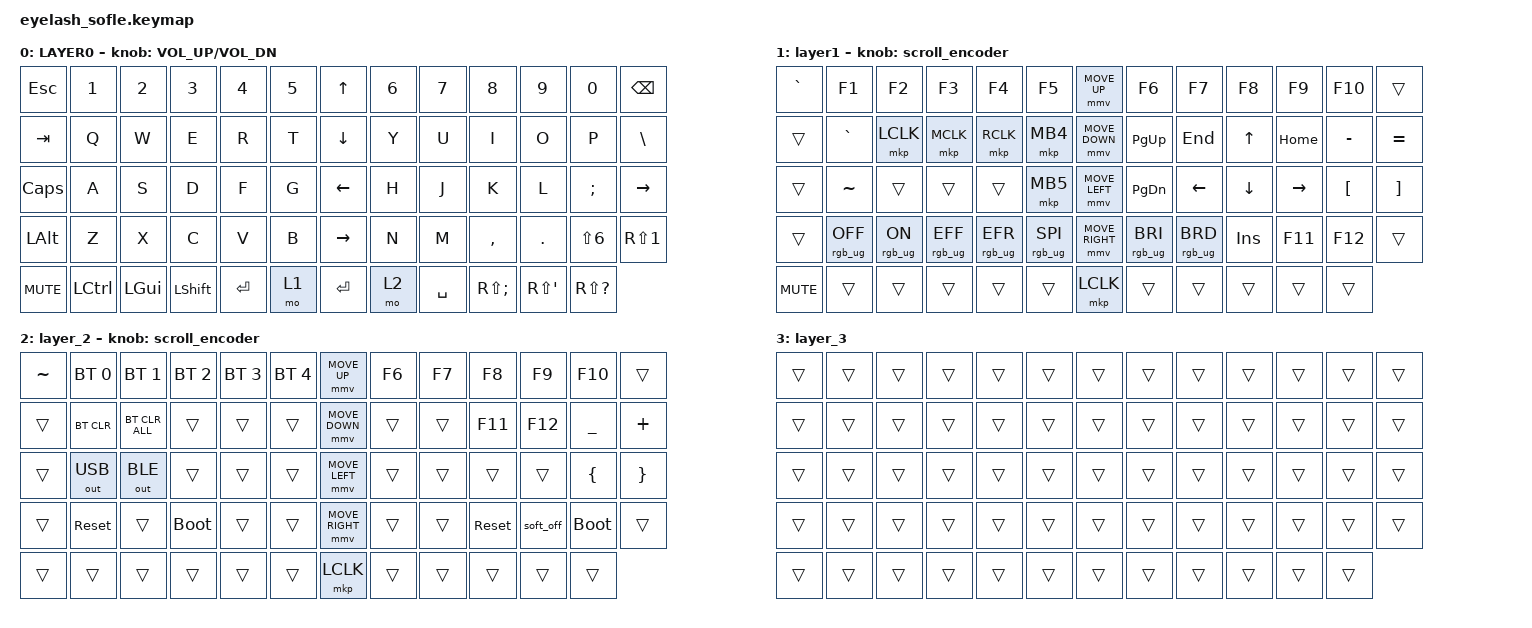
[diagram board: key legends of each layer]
#define ZMK_POINTING_DEFAULT_MOVE_VAL 1200  // 600
#define ZMK_POINTING_DEFAULT_SCRL_VAL 25   // 10

#include <input/processors.dtsi>
#include <zephyr/dt-bindings/input/input-event-codes.h>
#include <behaviors.dtsi>
#include <dt-bindings/zmk/bt.h>
#include <dt-bindings/zmk/keys.h>
#include <dt-bindings/zmk/outputs.h>
#include <dt-bindings/zmk/pointing.h>
#include <dt-bindings/zmk/rgb.h>

&mmv_input_listener { input-processors = <&zip_xy_scaler 2 1>; };

&msc_input_listener { input-processors = <&zip_scroll_scaler 2 1>; };

&msc {
    acceleration-exponent = <1>;      // 0
    time-to-max-speed-ms = <100>;       // 300
    delay-ms = <0>;                   // 0
};

&mmv {
    time-to-max-speed-ms = <500>;
    acceleration-exponent = <1>;
    trigger-period-ms = <16>;
};

/ {
    scroll_encoder: scroll_encoder {
        compatible = "zmk,behavior-sensor-rotate";
        #sensor-binding-cells = <0>;
        bindings = <&msc SCRL_DOWN>, <&msc SCRL_UP>;

        tap-ms = <100>;
    };

    combos {
        compatible = "zmk,combos";

        n3 {
            bindings = <&kp NUMBER_3>;
            key-positions = <30 31>;
        };

        n2 {
            bindings = <&kp NUMBER_2>;
            key-positions = <29 30>;
        };

        n4 {
            bindings = <&kp NUMBER_4>;
            key-positions = <42 43>;
        };

        n5 {
            bindings = <&kp N5>;
            key-positions = <43 44>;
        };

        n1 {
            bindings = <&kp N1>;
            key-positions = <17 18>;
        };

        n6 {
            bindings = <&kp NUMBER_6>;
            key-positions = <33 34>;
        };

        n7 {
            bindings = <&kp N7>;
            key-positions = <34 35>;
        };

        n8 {
            bindings = <&kp N8>;
            key-positions = <35 36>;
        };

        n9 {
            bindings = <&kp N9>;
            key-positions = <46 47>;
        };

        n0 {
            bindings = <&kp N0>;
            key-positions = <47 48>;
        };
    };

    behaviors {
    };

    keymap {
        compatible = "zmk,keymap";

        layer0 {
            bindings = <
&kp ESC       &kp N1     &kp N2        &kp N3          &kp N4     &kp N5    &kp UP_ARROW     &kp N6  &kp N7     &kp N8             &kp N9              &kp N0            &kp BACKSPACE
&kp TAB       &kp Q      &kp W         &kp E           &kp R      &kp T     &kp DOWN_ARROW   &kp Y   &kp U      &kp I              &kp O               &kp P             &kp BSLH
&kp CAPS      &kp A      &kp S         &kp D           &kp F      &kp G     &kp LEFT_ARROW   &kp H   &kp J      &kp K              &kp L               &kp SEMI          &kp RIGHT_ARROW
&kp LEFT_ALT  &kp Z      &kp X         &kp C           &kp V      &kp B     &kp RIGHT_ARROW  &kp N   &kp M      &kp COMMA          &kp DOT             &kp LS(NUMBER_6)  &kp RS(NUMBER_1)
&kp C_MUTE    &kp LCTRL  &kp LEFT_GUI  &kp LEFT_SHIFT  &kp ENTER  &mo 1     &kp ENTER        &mo 2   &kp SPACE  &kp RS(SEMICOLON)  &kp RS(APOSTROPHE)  &kp RS(QUESTION)
            >;

            sensor-bindings = <&inc_dec_kp C_VOLUME_UP C_VOL_DN>;
            display-name = "LAYER0";
        };

        layer_1 {
            bindings = <
&kp GRAVE   &kp F1           &kp F2          &kp F3           &kp F4           &kp F5             &mmv MOVE_UP     &kp F6           &kp F7           &kp F8      &kp F9     &kp F10           &trans
&trans      &kp GRAVE        &mkp LCLK       &mkp MCLK        &mkp RCLK        &mkp MB4           &mmv MOVE_DOWN   &kp PG_UP        &kp END          &kp UP      &kp HOME   &kp MINUS         &kp EQUAL
&trans      &kp TILDE        &trans          &trans           &trans           &mkp MB5           &mmv MOVE_LEFT   &kp PG_DN        &kp LEFT         &kp DOWN    &kp RIGHT  &kp LEFT_BRACKET  &kp RIGHT_BRACKET
&trans      &rgb_ug RGB_OFF  &rgb_ug RGB_ON  &rgb_ug RGB_EFF  &rgb_ug RGB_EFR  &rgb_ug RGB_SPI    &mmv MOVE_RIGHT  &rgb_ug RGB_BRI  &rgb_ug RGB_BRD  &kp INSERT  &kp F11    &kp F12           &trans
&kp C_MUTE  &trans           &trans          &trans           &trans           &trans             &mkp LCLK        &trans           &trans           &trans      &trans     &trans
            >;

            display-name = "layer1";
            sensor-bindings = <&scroll_encoder>;
        };

        layer_2 {
            bindings = <
&kp TILDE  &bt BT_SEL 0  &bt BT_SEL 1    &bt BT_SEL 2  &bt BT_SEL 3  &bt BT_SEL 4    &mmv MOVE_UP     &kp F6  &kp F7  &kp F8      &kp F9     &kp F10      &trans
&trans     &bt BT_CLR    &bt BT_CLR_ALL  &trans        &trans        &trans          &mmv MOVE_DOWN   &trans  &trans  &kp F11     &kp F12    &kp UNDER    &kp PLUS
&trans     &out OUT_USB  &out OUT_BLE    &trans        &trans        &trans          &mmv MOVE_LEFT   &trans  &trans  &trans      &trans     &kp LBRC     &kp RBRC
&trans     &sys_reset    &trans          &bootloader   &trans        &trans          &mmv MOVE_RIGHT  &trans  &trans  &sys_reset  &soft_off  &bootloader  &trans
&trans     &trans        &trans          &trans        &trans        &trans          &mkp LCLK        &trans  &trans  &trans      &trans     &trans
            >;

            sensor-bindings = <&scroll_encoder>;
        };

        layer_3 {
            bindings = <
&trans  &trans  &trans  &trans  &trans  &trans    &trans  &trans  &trans  &trans  &trans  &trans  &trans
&trans  &trans  &trans  &trans  &trans  &trans    &trans  &trans  &trans  &trans  &trans  &trans  &trans
&trans  &trans  &trans  &trans  &trans  &trans    &trans  &trans  &trans  &trans  &trans  &trans  &trans
&trans  &trans  &trans  &trans  &trans  &trans    &trans  &trans  &trans  &trans  &trans  &trans  &trans
&trans  &trans  &trans  &trans  &trans  &trans    &trans  &trans  &trans  &trans  &trans  &trans
            >;
        };
    };
};
